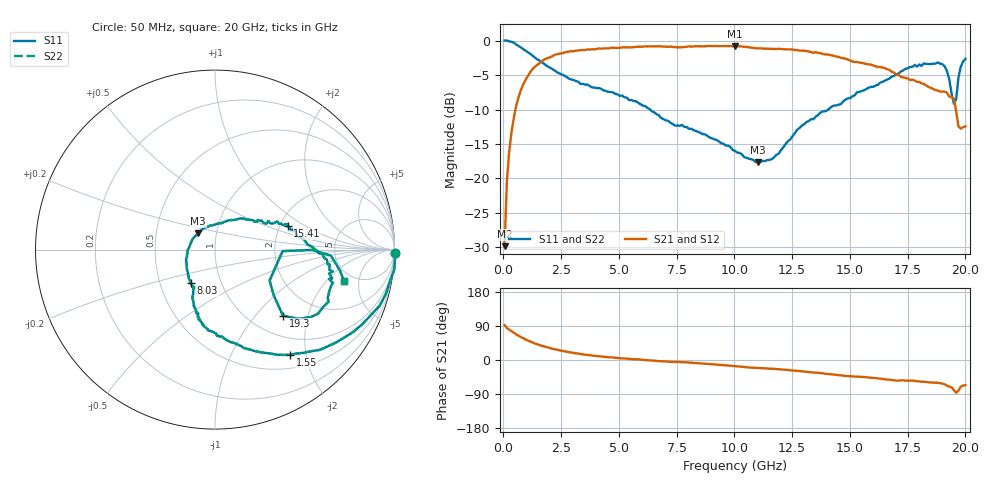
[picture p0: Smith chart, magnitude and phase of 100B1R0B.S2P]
!  American Technical Ceramics  Date:  3/13/98
!  One Norden Lane
!  Huntington Station,  NY.  11746-2102
!  Tel:  (516) 547-5700  Fax:  (516) 547-5748
!  Part Number  100b1r0b
!  Description: Porcelain, High Q, Low ESR
!  Application: Bypass, Coupling, Timing, Feedback
!  Tuning, Impedance Match, Blocking
# GHZ S DB R 50
! Freq  |S11|  S11 Ph  |S21|  S21 Ph  |S12|  S12 Ph  |S22|  S22 Ph
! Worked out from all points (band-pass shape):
!   201 points, 50 MHz to 20 GHz, reference 50 ohm
!   highest |S21| = -0.74 dB at 10.03 GHz (marker M1); lowest = -29.9 dB at 50 MHz (marker M2)
!   |S21| within 3 dB of the highest: 1.377 GHz to 16.15 GHz (14.77 GHz wide, 169 % of centre)
!   lowest |S11| = -17.7 dB at 11.02 GHz (marker M3), VSWR 1.30, Z = 40.8 + j7.64 ohm
!   |S11| at or under -10 dB: 6.351 GHz to 14.06 GHz (7.708 GHz wide, 75.5 % of centre)
!   |S22| runs from -17.7 to 0.1 dB; largest |S21 - S12| = 0
!   S11 on the Smith chart (normalised r, x): 50 MHz: open; 1.55 GHz: 0.71, -1.72; 8.03 GHz: 0.72, -0.28; 15.41 GHz: 2.20, +0.71; 19.3 GHz: 1.38, -1.41; 20 GHz: 4.12, -3.20
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0.05  0.05 -1.0  -29.86 92.0  -29.86 92.0  0.05 -1.0
0.15  0.04 -6.5  -20.36 84.0  -20.36 84.0  0.04 -6.5
0.25  -0.08 -10.5  -16.05 80.0  -16.05 80.0  -0.08 -10.5
0.45  -0.27 -18.7  -11.18 72.2  -11.18 72.2  -0.27 -18.7
0.85  -1.21 -34.4  -6.39 57.5  -6.39 57.5  -1.21 -34.4
1.55  -2.85 -54.4  -3.28 39.6  -3.28 39.6  -2.85 -54.4
2.44  -4.77 -72.8  -1.86 25.5  -1.86 25.5  -4.77 -72.8
3.44  -6.26 -87.0  -1.34 15.1  -1.34 15.1  -6.26 -87.0
6.73  -10.83 -115.6  -0.79 -2.9  -0.79 -2.9  -10.83 -115.6
8.03  -12.80 -125.8  -0.80 -6.8  -0.80 -6.8  -12.80 -125.8
10.03  -16.01 -170.1  -0.74 -16.2  -0.74 -16.2  -16.01 -170.1
11.02  -17.67 135.4  -1.10 -21.1  -1.10 -21.1  -17.67 135.4
13.42  -11.41 35.2  -1.75 -33.0  -1.75 -33.0  -11.41 35.2
15.41  -7.42 18.0  -3.18 -44.1  -3.18 -44.1  -7.42 18.0
16.71  -5.49 2.2  -4.22 -51.9  -4.22 -51.9  -5.49 2.2
17.81  -3.52 -10.4  -5.79 -55.1  -5.79 -55.1  -3.52 -10.4
18.8  -3.15 -24.6  -7.23 -60.1  -7.23 -60.1  -3.15 -24.6
19.3  -5.56 -44.1  -8.11 -70.4  -8.11 -70.4  -5.56 -44.1
19.5  -9.13 -29.5  -8.40 -79.5  -8.40 -79.5  -9.13 -29.5
19.6  -8.48 -1.3  -10.24 -86.6  -10.24 -86.6  -8.48 -1.3
19.8  -3.78 -3.0  -12.77 -70.6  -12.77 -70.6  -3.78 -3.0
20  -2.61 -13.7  -12.43 -66.5  -12.43 -66.5  -2.61 -13.7
